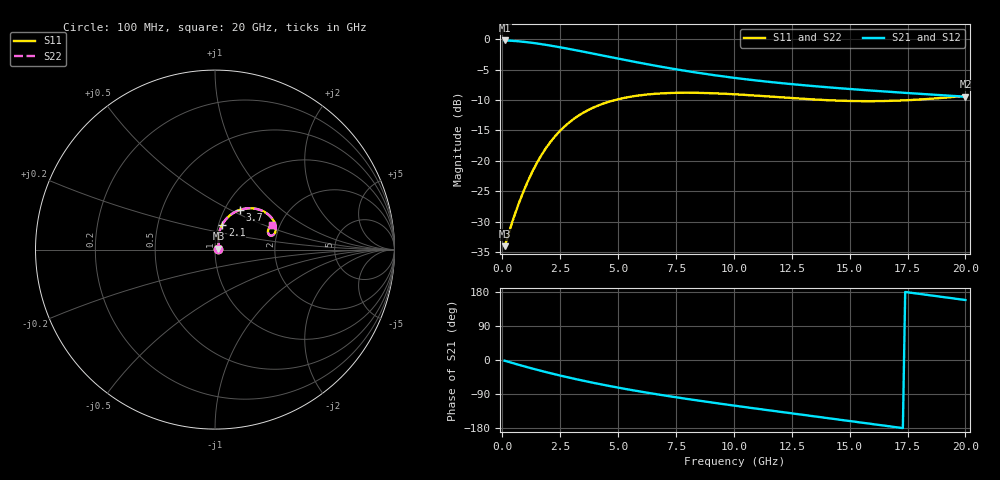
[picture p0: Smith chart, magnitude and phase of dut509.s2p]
! Touchstone file exported from HFSS 2024.1.0
!  File:  C:/UserFiles/LocalFiles/RDL_TSV_Batchsim/temp_RDL_TSV_509_1779739415.aedt
!  Generated:  04:20:35 AM May 26, 2026
!  Design:  RDL_TSV
!  Project:  temp_RDL_TSV_509_1779739415
!  Setup:  Setup1
!  Solution:  Sweep
! Variables:
!  dtsv = 10.77um
!  hbump = 3um
!  htsv = 52.25um
!  ldown = 628.38um
!  lrdl = 313.2um
!  p = 40
!  p1 = 57.62um
!  rhole = 10um
!  subl = 3137.94um
!  t = 450um
!  tdown = 3.96um
!  trdl = 2.2um
!  viad = 10um
!  wdown = 16.35um
!  wrdl = 24.94um
!  xbump = 18um
# GHz S MA R 50.000000
! Terminal data exported
! Port[1] = TM1_1_T1
! Port[2] = TM1_4_T1
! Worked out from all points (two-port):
!   200 points, 100 MHz to 20 GHz, reference 50 ohm
!   highest |S21| = -0.17 dB at 100 MHz (marker M1); lowest = -9.4 dB at 20 GHz (marker M2)
!   |S21| within 3 dB of the highest: start of sweep to 5.016 GHz
!   lowest |S11| = -34.1 dB at 100 MHz (marker M3), VSWR 1.04, Z = 51.9 + j0.619 ohm
!   |S11| at or under -10 dB: start of sweep to 4.854 GHz; 14 GHz to 17.55 GHz (3.55 GHz wide, 22.5 % of centre)
!   |S22| runs from -34.1 to -8.8 dB; largest |S21 - S12| = 5e-14
!   S11 on the Smith chart (normalised r, x): 100 MHz: 1.04, +0.01; 2.1 GHz: 1.04, +0.30; 3.7 GHz: 1.18, +0.56; 20 GHz: 1.81, +0.56
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0.1  0.01982 17.5  0.9808 -1.8  0.9808 -1.8  0.01982 17.5
! Gamma 0 0 0 0
! Port Impedance 50 0 50 0
0.6  0.039 59.4  0.9691 -10.8  0.9691 -10.8  0.039 59.4
0.8  0.04932 66.6  0.9616 -14.2  0.9616 -14.2  0.04932 66.6
1.1  0.06765 73.0  0.9479 -19.3  0.9479 -19.3  0.06764 73.0
1.6  0.1043 76.0  0.9201 -27.4  0.9201 -27.4  0.1043 76.0
2.1  0.1448 73.9  0.8884 -35.2  0.8884 -35.2  0.1448 73.9
2.4  0.1692 71.4  0.8684 -39.6  0.8684 -39.6  0.1692 71.5
2.8  0.2004 67.5  0.841 -45.3  0.841 -45.3  0.2005 67.5
3.5  0.2491 60.0  0.7928 -54.7  0.7928 -54.7  0.2492 60.0
3.7  0.2614 57.8  0.7792 -57.3  0.7792 -57.3  0.2615 57.9
4.4  0.2978 50.6  0.7328 -65.9  0.7328 -65.9  0.2979 50.7
5.2  0.3279 43.2  0.6833 -75.1  0.6833 -75.1  0.3281 43.2
6  0.3475 36.8  0.6384 -83.7  0.6384 -83.7  0.3478 36.8
6.8  0.3587 31.2  0.5985 -91.7  0.5985 -91.7  0.359 31.3
8.3  0.3636 23.2  0.5365 -105.6  0.5365 -105.6  0.3639 23.2
10.1  0.3528 17.0  0.4805 -121.1  0.4805 -121.1  0.3532 17.0
11.7  0.337 14.3  0.4435 -134.3  0.4435 -134.3  0.3373 14.3
13.4  0.3207 14.0  0.4133 -148.1  0.4133 -148.1  0.321 14.1
15  0.3113 15.8  0.3906 -161.0  0.3906 -161.0  0.3116 15.8
16.7  0.3116 18.8  0.3705 -174.8  0.3705 -174.8  0.3119 18.9
18.3  0.3225 21.6  0.3537 172.2  0.3537 172.2  0.3229 21.6
20  0.3429 23.3  0.3374 158.3  0.3374 158.3  0.3432 23.3
